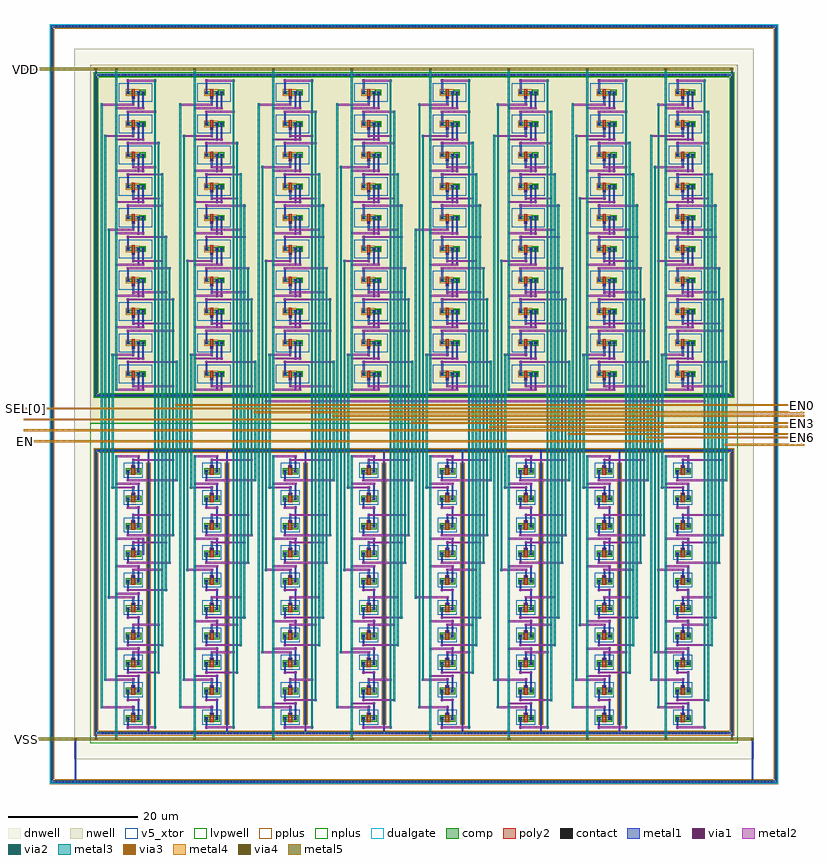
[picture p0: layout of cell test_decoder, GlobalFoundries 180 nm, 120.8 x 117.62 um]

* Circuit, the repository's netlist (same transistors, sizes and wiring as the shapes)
** sch_path: /foss/designs/libs/core_test/test_decoder/test_decoder.sch
.subckt test_decoder SEL[0] SEL[1] SEL[2] VDD VSS EN0 EN1 EN2 EN3 EN4 EN5 EN6 EN7 EN
*.PININFO VDD:B VSS:B SEL[0]:I SEL[1]:I SEL[2]:I EN0:O EN1:O EN2:O EN3:O EN4:O EN5:O EN6:O EN7:O EN:I
x3 VDD SEL[0] net1 SEL[1] VSS test_and
x4 VDD net1 net2 SEL[2] VSS test_and
x5 VDD EN0_in net2 VSS test_inv
x6 VDD SEL[0] net3 SEL[1] VSS test_and
x7 VDD net4 net3 VSS test_inv
x8 VDD net4 EN1_in SEL[2] VSS test_and
x9 VDD net5 SEL[0] VSS test_inv
x10 VDD net5 net7 SEL[1] VSS test_and
x11 VDD net6 SEL[2] VSS test_inv
x12 VDD net7 EN2_in net6 VSS test_and
x13 VDD net8 SEL[0] VSS test_inv
x14 VDD net8 net9 SEL[1] VSS test_and
x15 VDD net9 EN3_in SEL[2] VSS test_and
x16 VDD SEL[1] net10 SEL[2] VSS test_and
x17 VDD net11 net10 VSS test_inv
x18 VDD SEL[0] EN4_in net11 VSS test_and
x19 VDD net12 SEL[1] VSS test_inv
x20 VDD SEL[0] net13 net12 VSS test_and
x21 VDD net13 EN5_in SEL[2] VSS test_and
x22 VDD SEL[0] net14 SEL[1] VSS test_and
x23 VDD net14 EN6_in net15 VSS test_and
x24 VDD net15 SEL[2] VSS test_inv
x25 VDD SEL[0] net16 SEL[1] VSS test_and
x26 VDD net16 EN7_in SEL[2] VSS test_and
x1 VDD EN0_in EN0 EN VSS test_and
x2 VDD EN1_in EN1 EN VSS test_and
x27 VDD EN2_in EN2 EN VSS test_and
x28 VDD EN3_in EN3 EN VSS test_and
x29 VDD EN4_in EN4 EN VSS test_and
x30 VDD EN5_in EN5 EN VSS test_and
x31 VDD EN6_in EN6 EN VSS test_and
x32 VDD EN7_in EN7 EN VSS test_and
.ends

* expanding   symbol:  libs/core_test/test_and/test_and.sym # of pins=5
** sym_path: /foss/designs/libs/core_test/test_and/test_and.sym
** sch_path: /foss/designs/libs/core_test/test_and/test_and.sch
.subckt test_and VDD A Y B VSS
*.PININFO A:I B:I VDD:B VSS:B Y:O
XM1 net1 A net2 VSS nfet_05v0 L=0.60u W=0.50u nf=1 m=1
XM2 net1 A VDD VDD pfet_05v0 L=0.50u W=0.50u nf=1 m=1
XM3 net1 B VDD VDD pfet_05v0 L=0.50u W=0.50u nf=1 m=1
XM4 net2 B VSS VSS nfet_05v0 L=0.60u W=0.50u nf=1 m=1
XM5 Y net1 VSS VSS nfet_05v0 L=0.60u W=0.50u nf=1 m=1
XM6 Y net1 VDD VDD pfet_05v0 L=0.50u W=0.50u nf=1 m=1
.ends


* expanding   symbol:  libs/core_test/test_inv/test_inv.sym # of pins=4
** sym_path: /foss/designs/libs/core_test/test_inv/test_inv.sym
** sch_path: /foss/designs/libs/core_test/test_inv/test_inv.sch
.subckt test_inv VDD OUT IN VSS
*.PININFO OUT:O IN:I VDD:B VSS:B
XM1 OUT IN VSS VSS nfet_05v0 L=0.60u W=0.50u nf=1 m=1
XM2 OUT IN VDD VDD pfet_05v0 L=0.50u W=0.50u nf=1 m=1
.ends

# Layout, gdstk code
import gdstk
lib = gdstk.Library(unit=1e-6, precision=5e-09)
def R(c, l, rs):  # rectangles x0, y0, x1, y1
    for r in rs: c.add(gdstk.rectangle(r[:2], r[2:], *l))
def A(c, l, x, y, w, h, nx, ny, dx, dy):  # array of equal rectangles
    R(c, l, [(x+i*dx, y+j*dy, x+i*dx+w, y+j*dy+h) for i in range(nx) for j in range(ny)])
def P(c, l, *ps):  # polygons
    for p in ps: c.add(gdstk.Polygon(p, *l))
dnwell = (12, 0)
nwell = (21, 0)
comp = (22, 0)
poly2 = (30, 0)
pplus = (31, 0)
nplus = (32, 0)
contact = (33, 0)
metal1 = (34, 0)
via1 = (35, 0)
metal2 = (36, 0)
via2 = (38, 0)
via3 = (40, 0)
via4 = (41, 0)
metal3 = (42, 0)
metal4 = (46, 0)
dualgate = (55, 0)
metal5 = (81, 0)
v5_xtor = (112, 1)
lvpwell = (204, 0)

nfet = lib.new_cell('nfet')
R(nfet, comp, [(-0.42,0,0,0.5), (0,0,1.22,0.5), (1.22,0,1.64,0.5)])
R(nfet, poly2, [(0.31,-0.3,0.91,0.8), (0.31,0.8,0.91,1.16)])
R(nfet, nplus, [(-0.59,-0.24,1.81,0.74)])
R(nfet, contact, [(-0.32,0.14,-0.1,0.36), (1.32,0.14,1.54,0.36), (0.5,0.87,0.72,1.09)])
R(nfet, metal1, [(-0.4,0.06,-0.02,0.44), (1.24,0.06,1.62,0.44), (0.42,0.79,0.8,1.17)])
R(nfet, dualgate, [(-0.84,-0.71,2.06,1.58)])
R(nfet, v5_xtor, [(-0.84,-0.71,2.06,1.58)])

pfet_1 = lib.new_cell('pfet$1')
R(pfet_1, nwell, [(-1.15,-0.69,3,1.19)])
R(pfet_1, comp, [(-0.46,0,0,0.5), (0,0,1.12,0.5), (1.12,0,1.58,0.5), (1.58,0,2.31,0.5)])
R(pfet_1, poly2, [(0.31,-0.68,0.81,-0.3), (0.31,-0.3,0.81,0.8)])
R(pfet_1, pplus, [(-0.63,-0.24,1.58,0.74)])
R(pfet_1, nplus, [(1.58,-0.17,2.48,0.67)])
R(pfet_1, contact, [(0.45,-0.6,0.67,-0.38), (-0.34,0.14,-0.12,0.36), (1.24,0.14,1.46,0.36), (1.97,0.14,2.19,0.36)])
R(pfet_1, metal1, [(0.37,-0.68,0.75,-0.3), (-0.42,0.06,-0.04,0.44), (1.16,0.06,1.54,0.44), (1.89,0.06,2.27,0.44)])
R(pfet_1, dualgate, [(-1.65,-1.19,3.5,1.69)])
R(pfet_1, v5_xtor, [(-1.65,-1.19,3.5,1.69)])

test_decoder = lib.new_cell('test_decoder')
R(test_decoder, dnwell, [(-293.04,2.505,-187.88,112.485)])
R(test_decoder, nwell, [(-290.54,54.545,-190.38,109.985)])
A(test_decoder, comp, -281.76, 8.035, 0.38, 40.2, 7, 1, 12.15, 0)
P(test_decoder, comp, [(-289.87,58.615),(-289.87,108.255),(-289.49,108.255),(-289.49,58.995),(-191.43,58.995),(-191.43,108.255),(-289.87,108.255),(-289.87,108.635),(-191.05,108.635),(-191.05,58.615)],
  [(-289.87,6.355),(-289.87,50.095),(-289.49,50.095),(-289.49,6.735),(-191.43,6.735),(-191.43,50.095),(-289.87,50.095),(-289.87,50.475),(-191.05,50.475),(-191.05,6.355)],
  [(-296.69,-1.145),(-296.69,115.755),(-296.31,115.755),(-296.31,-0.765),(-184.61,-0.765),(-184.61,115.755),(-296.69,115.755),(-296.69,116.135),(-184.23,116.135),(-184.23,-1.145)])
A(test_decoder, pplus, -281.93, 7.865, 0.72, 40.54, 7, 1, 12.15, 0)
P(test_decoder, pplus, [(-290.04,6.185),(-290.04,49.925),(-289.32,49.925),(-289.32,6.905),(-191.6,6.905),(-191.6,49.925),(-290.04,49.925),(-290.04,50.645),(-190.88,50.645),(-190.88,6.185)],
  [(-296.86,-1.315),(-296.86,115.585),(-296.14,115.585),(-296.14,-0.595),(-184.78,-0.595),(-184.78,115.585),(-296.86,115.585),(-296.86,116.305),(-184.06,116.305),(-184.06,-1.315)])
P(test_decoder, nplus, [(-290.04,58.445),(-290.04,108.085),(-289.32,108.085),(-289.32,59.165),(-191.6,59.165),(-191.6,108.085),(-290.04,108.085),(-290.04,108.805),(-190.88,108.805),(-190.88,58.445)])
A(test_decoder, contact, -295.905, -1.065, 0.22, 0.22, 218, 2, 0.51, 116.9)
A(test_decoder, contact, -296.61, -0.245, 0.22, 0.22, 1, 227, 0, 0.51)
A(test_decoder, contact, -184.53, -0.245, 0.22, 0.22, 1, 227, 0, 0.51)
A(test_decoder, contact, -288.765, 6.435, 0.22, 0.22, 190, 2, 0.51, 43.74)
A(test_decoder, contact, -289.79, 7.395, 0.22, 0.22, 1, 83, 0, 0.51)
A(test_decoder, contact, -191.35, 7.395, 0.22, 0.22, 1, 83, 0, 0.51)
A(test_decoder, contact, -281.68, 8.39, 0.22, 0.22, 7, 78, 12.15, 0.51)
A(test_decoder, contact, -288.765, 58.695, 0.22, 0.22, 190, 2, 0.51, 49.64)
A(test_decoder, contact, -289.79, 59.8, 0.22, 0.22, 1, 94, 0, 0.51)
A(test_decoder, contact, -191.35, 59.8, 0.22, 0.22, 1, 94, 0, 0.51)
A(test_decoder, metal1, -281.7, 6.415, 0.26, 44, 7, 1, 12.15, 0)
A(test_decoder, metal1, -284.85, 7.255, 0.26, 1.7, 8, 10, 12.15, 4.25)
A(test_decoder, metal1, -246.76, 8.695, 0.26, 2.63, 3, 1, 24.3, 0)
A(test_decoder, metal1, -284.03, 9.425, 0.26, 1.34, 8, 10, 12.15, 4.25)
A(test_decoder, metal1, -246.76, 12.945, 0.26, 3.19, 3, 1, 24.3, 0)
A(test_decoder, metal1, -283.21, 17.195, 0.26, 2.63, 8, 3, 12.15, 12.75)
A(test_decoder, metal1, -271.06, 21.445, 0.26, 2.63, 7, 2, 12.15, 12.75)
A(test_decoder, metal1, -271.06, 25.695, 0.26, 3.19, 7, 1, 12.15, 0)
A(test_decoder, metal1, -283.21, 38.445, 0.26, 3.19, 8, 1, 12.15, 0)
A(test_decoder, metal1, -283.21, 46.945, 0.26, 2.63, 8, 1, 12.15, 0)
A(test_decoder, metal1, -283.25, 59.515, 0.26, 2.74, 1, 10, 0, 4.84)
A(test_decoder, metal1, -282.52, 59.515, 0.26, 2.74, 1, 10, 0, 4.84)
A(test_decoder, metal1, -271.1, 59.515, 0.26, 2.74, 1, 10, 0, 4.84)
A(test_decoder, metal1, -270.37, 59.515, 0.26, 2.74, 1, 10, 0, 4.84)
A(test_decoder, metal1, -258.95, 59.515, 0.26, 2.74, 1, 10, 0, 4.84)
A(test_decoder, metal1, -258.22, 59.515, 0.26, 2.74, 1, 10, 0, 4.84)
A(test_decoder, metal1, -246.8, 59.515, 0.26, 2.74, 1, 10, 0, 4.84)
A(test_decoder, metal1, -246.07, 59.515, 0.26, 2.74, 1, 10, 0, 4.84)
A(test_decoder, metal1, -234.65, 59.515, 0.26, 2.74, 1, 10, 0, 4.84)
A(test_decoder, metal1, -233.92, 59.515, 0.26, 2.74, 1, 10, 0, 4.84)
A(test_decoder, metal1, -222.5, 59.515, 0.26, 2.74, 1, 10, 0, 4.84)
A(test_decoder, metal1, -221.77, 59.515, 0.26, 2.74, 1, 10, 0, 4.84)
A(test_decoder, metal1, -210.35, 59.515, 0.26, 2.74, 1, 10, 0, 4.84)
A(test_decoder, metal1, -209.62, 59.515, 0.26, 2.74, 1, 10, 0, 4.84)
A(test_decoder, metal1, -198.2, 59.515, 0.26, 2.74, 1, 10, 0, 4.84)
A(test_decoder, metal1, -197.47, 59.515, 0.26, 2.74, 1, 10, 0, 4.84)
A(test_decoder, metal1, -284.04, 60.075, 0.26, 1.44, 8, 10, 12.15, 4.84)
A(test_decoder, metal1, -284.83, 61.995, 0.26, 2.18, 8, 10, 12.15, 4.84)
R(test_decoder, metal1, [(-283.21,8.695,-282.95,11.885), (-271.06,8.695,-270.8,11.885), (-258.91,8.695,-258.65,11.325), (-234.61,8.695,-234.35,11.885), (-210.31,8.695,-210.05,11.885), (-283.21,12.945,-282.95,15.575), (-271.06,12.945,-270.8,15.575), (-258.91,12.945,-258.65,16.135), (-234.61,12.945,-234.35,15.575), (-210.31,12.945,-210.05,15.575), (-283.21,21.445,-282.95,24.635), (-283.21,25.695,-282.95,28.325), (-283.21,34.195,-282.95,36.825), (-282.5,34.195,-282.24,36.825)])
P(test_decoder, metal1, [(-289.81,58.675),(-289.81,108.315),(-289.55,108.315),(-289.55,58.935),(-191.37,58.935),(-191.37,108.315),(-289.81,108.315),(-289.81,109.535),(-289.55,109.535),(-289.55,108.575),(-191.37,108.575),(-191.37,109.535),(-191.11,109.535),(-191.11,58.675)],
  [(-289.81,5.455),(-289.81,50.155),(-289.55,50.155),(-289.55,6.675),(-191.37,6.675),(-191.37,50.155),(-289.81,50.155),(-289.81,50.415),(-191.11,50.415),(-191.11,5.455),(-191.37,5.455),(-191.37,6.415),(-289.55,6.415),(-289.55,5.455)],
  [(-296.63,-1.085),(-296.63,115.815),(-296.37,115.815),(-296.37,-0.825),(-292.98,-0.825),(-292.98,5.835),(-292.72,5.835),(-292.72,-0.825),(-188.2,-0.825),(-188.2,5.835),(-187.94,5.835),(-187.94,-0.825),(-184.55,-0.825),(-184.55,115.815),(-296.63,115.815),(-296.63,116.075),(-184.29,116.075),(-184.29,-1.085)])
A(test_decoder, via1, -284.85, 7.315, 0.26, 0.26, 8, 3, 12.15, 12.75)
A(test_decoder, via1, -284.03, 10.445, 0.26, 0.26, 8, 10, 12.15, 4.25)
A(test_decoder, via1, -246.76, 11.005, 0.26, 0.26, 3, 1, 24.3, 0)
A(test_decoder, via1, -260.55, 11.565, 0.26, 0.26, 3, 1, 12.15, 0)
A(test_decoder, via1, -284.85, 15.815, 0.26, 0.26, 3, 1, 12.15, 0)
A(test_decoder, via1, -258.91, 15.815, 0.26, 0.26, 1, 3, 0, 12.75)
A(test_decoder, via1, -248.4, 15.815, 0.26, 0.26, 1, 3, 0, 12.75)
A(test_decoder, via1, -246.76, 15.815, 0.26, 0.26, 1, 3, 0, 12.75)
A(test_decoder, via1, -236.25, 15.815, 0.26, 0.26, 1, 3, 0, 12.75)
A(test_decoder, via1, -224.1, 15.815, 0.26, 0.26, 1, 3, 0, 12.75)
A(test_decoder, via1, -222.46, 15.815, 0.26, 0.26, 1, 3, 0, 12.75)
A(test_decoder, via1, -211.95, 15.815, 0.26, 0.26, 1, 3, 0, 12.75)
A(test_decoder, via1, -199.8, 15.815, 0.26, 0.26, 1, 3, 0, 12.75)
A(test_decoder, via1, -198.16, 15.815, 0.26, 0.26, 1, 3, 0, 12.75)
A(test_decoder, via1, -283.21, 19.505, 0.26, 0.26, 8, 3, 12.15, 12.75)
A(test_decoder, via1, -271.06, 23.755, 0.26, 0.26, 7, 2, 12.15, 12.75)
A(test_decoder, via1, -272.7, 24.315, 0.26, 0.26, 7, 1, 12.15, 0)
A(test_decoder, via1, -284.85, 37.065, 0.26, 0.26, 8, 2, 12.15, 8.5)
A(test_decoder, via1, -283.21, 49.255, 0.26, 0.26, 8, 1, 12.15, 0)
A(test_decoder, via1, -283.25, 59.575, 0.26, 0.26, 1, 10, 0, 4.84)
A(test_decoder, via1, -282.52, 59.575, 0.26, 0.26, 1, 10, 0, 4.84)
A(test_decoder, via1, -271.1, 59.575, 0.26, 0.26, 1, 10, 0, 4.84)
A(test_decoder, via1, -270.37, 59.575, 0.26, 0.26, 1, 10, 0, 4.84)
A(test_decoder, via1, -258.95, 59.575, 0.26, 0.26, 1, 10, 0, 4.84)
A(test_decoder, via1, -258.22, 59.575, 0.26, 0.26, 1, 10, 0, 4.84)
A(test_decoder, via1, -246.8, 59.575, 0.26, 0.26, 1, 10, 0, 4.84)
A(test_decoder, via1, -246.07, 59.575, 0.26, 0.26, 1, 10, 0, 4.84)
A(test_decoder, via1, -234.65, 59.575, 0.26, 0.26, 1, 10, 0, 4.84)
A(test_decoder, via1, -233.92, 59.575, 0.26, 0.26, 1, 10, 0, 4.84)
A(test_decoder, via1, -222.5, 59.575, 0.26, 0.26, 1, 10, 0, 4.84)
A(test_decoder, via1, -221.77, 59.575, 0.26, 0.26, 1, 10, 0, 4.84)
A(test_decoder, via1, -210.35, 59.575, 0.26, 0.26, 1, 10, 0, 4.84)
A(test_decoder, via1, -209.62, 59.575, 0.26, 0.26, 1, 10, 0, 4.84)
A(test_decoder, via1, -198.2, 59.575, 0.26, 0.26, 1, 10, 0, 4.84)
A(test_decoder, via1, -197.47, 59.575, 0.26, 0.26, 1, 10, 0, 4.84)
A(test_decoder, via1, -284.04, 60.135, 0.26, 0.26, 8, 10, 12.15, 4.84)
A(test_decoder, via1, -284.83, 63.855, 0.26, 0.26, 8, 10, 12.15, 4.84)
R(test_decoder, via1, [(-292.98,5.515,-292.72,5.775), (-289.81,5.515,-289.55,5.775), (-191.37,5.515,-191.11,5.775), (-188.2,5.515,-187.94,5.775), (-258.91,11.005,-258.65,11.265), (-284.85,11.565,-284.59,11.825), (-283.21,11.565,-282.95,11.825), (-272.7,11.565,-272.44,11.825), (-271.06,11.565,-270.8,11.825), (-234.61,11.565,-234.35,11.825), (-224.1,11.565,-223.84,11.825), (-211.95,11.565,-211.69,11.825), (-210.31,11.565,-210.05,11.825), (-199.8,11.565,-199.54,11.825), (-283.21,15.255,-282.95,15.515), (-271.06,15.255,-270.8,15.515), (-234.61,15.255,-234.35,15.515), (-210.31,15.255,-210.05,15.515), (-284.85,24.315,-284.59,24.575), (-283.21,24.315,-282.95,24.575), (-283.21,28.005,-282.95,28.265), (-284.85,28.565,-284.59,28.825), (-272.7,28.565,-272.44,28.825), (-271.06,28.565,-270.8,28.825), (-260.55,28.565,-260.29,28.825), (-234.61,28.565,-234.35,28.825), (-210.31,28.565,-210.05,28.825), (-283.21,36.505,-282.95,36.765), (-282.5,36.505,-282.24,36.765), (-284.85,41.315,-284.59,41.575), (-283.21,41.315,-282.95,41.575), (-272.7,41.315,-272.44,41.575), (-271.06,41.315,-270.8,41.575), (-260.55,41.315,-260.29,41.575), (-234.61,41.315,-234.35,41.575), (-210.31,41.315,-210.05,41.575), (-289.81,109.215,-289.55,109.475), (-191.37,109.215,-191.11,109.475)])
A(test_decoder, metal2, -284.91, 7.305, 4.55, 0.28, 8, 1, 12.15, 0)
A(test_decoder, metal2, -288.97, 10.435, 5.26, 0.28, 4, 1, 12.15, 0)
A(test_decoder, metal2, -250.28, 10.995, 3.84, 0.28, 3, 1, 24.3, 0)
A(test_decoder, metal2, -248.46, 11.555, 5.11, 0.28, 3, 1, 24.3, 0)
A(test_decoder, metal2, -248.46, 15.805, 2.02, 0.28, 3, 1, 24.3, 0)
A(test_decoder, metal2, -235.49, 18.935, 3.73, 0.28, 3, 1, 12.15, 0)
A(test_decoder, metal2, -286.73, 19.495, 3.84, 0.28, 8, 3, 12.15, 12.75)
A(test_decoder, metal2, -284.91, 20.055, 5.67, 0.28, 8, 1, 12.15, 0)
A(test_decoder, metal2, -284.09, 23.185, 4.29, 0.28, 6, 1, 12.15, 0)
A(test_decoder, metal2, -274.58, 23.745, 3.84, 0.28, 7, 2, 12.15, 12.75)
A(test_decoder, metal2, -272.76, 24.305, 6.23, 0.28, 7, 1, 12.15, 0)
A(test_decoder, metal2, -271.94, 27.435, 4.85, 0.28, 3, 1, 12.15, 0)
A(test_decoder, metal2, -272.76, 28.555, 2.02, 0.28, 7, 1, 12.15, 0)
A(test_decoder, metal2, -275.7, 31.685, 4.14, 0.28, 3, 1, 12.15, 0)
A(test_decoder, metal2, -284.91, 32.805, 6.79, 0.28, 8, 1, 12.15, 0)
A(test_decoder, metal2, -284.09, 35.935, 5.41, 0.28, 8, 1, 12.15, 0)
A(test_decoder, metal2, -284.91, 37.055, 7.35, 0.28, 8, 1, 12.15, 0)
A(test_decoder, metal2, -284.09, 40.185, 5.97, 0.28, 8, 1, 12.15, 0)
A(test_decoder, metal2, -284.91, 41.305, 2.02, 0.28, 8, 1, 12.15, 0)
A(test_decoder, metal2, -287.29, 44.435, 3.58, 0.28, 8, 1, 12.15, 0)
A(test_decoder, metal2, -284.91, 45.555, 7.91, 0.28, 8, 1, 12.15, 0)
A(test_decoder, metal2, -284.09, 48.685, 6.53, 0.28, 8, 1, 12.15, 0)
A(test_decoder, metal2, -286.73, 49.245, 3.84, 0.28, 8, 1, 12.15, 0)
A(test_decoder, metal2, -286.73, 59.565, 4.53, 0.28, 8, 10, 12.15, 4.84)
A(test_decoder, metal2, -284.1, 60.125, 6.54, 0.28, 8, 1, 12.15, 0)
A(test_decoder, metal2, -284.89, 63.845, 7.89, 0.28, 8, 1, 12.15, 0)
A(test_decoder, metal2, -287.29, 64.965, 3.57, 0.28, 8, 1, 12.15, 0)
A(test_decoder, metal2, -284.89, 68.685, 7.33, 0.28, 8, 2, 12.15, 4.84)
A(test_decoder, metal2, -284.1, 69.805, 5.98, 0.28, 8, 1, 12.15, 0)
A(test_decoder, metal2, -284.1, 74.645, 5.42, 0.28, 8, 1, 12.15, 0)
A(test_decoder, metal2, -284.89, 78.365, 6.77, 0.28, 8, 1, 12.15, 0)
A(test_decoder, metal2, -275.7, 79.485, 4.13, 0.28, 3, 1, 12.15, 0)
A(test_decoder, metal2, -284.89, 83.205, 6.21, 0.28, 8, 1, 12.15, 0)
A(test_decoder, metal2, -271.95, 84.325, 4.86, 0.28, 3, 1, 12.15, 0)
A(test_decoder, metal2, -272.74, 88.045, 6.21, 0.28, 7, 1, 12.15, 0)
A(test_decoder, metal2, -284.1, 89.165, 4.3, 0.28, 6, 1, 12.15, 0)
A(test_decoder, metal2, -284.89, 92.885, 5.65, 0.28, 8, 1, 12.15, 0)
A(test_decoder, metal2, -235.5, 94.005, 3.74, 0.28, 3, 1, 12.15, 0)
A(test_decoder, metal2, -284.89, 97.725, 5.09, 0.28, 8, 1, 12.15, 0)
A(test_decoder, metal2, -248.44, 102.565, 5.09, 0.28, 3, 1, 24.3, 0)
A(test_decoder, metal2, -288.97, 103.685, 5.25, 0.28, 4, 1, 12.15, 0)
A(test_decoder, metal2, -284.89, 107.405, 4.53, 0.28, 8, 1, 12.15, 0)
R(test_decoder, metal2, [(-293.04,5.455,-292.66,5.835), (-289.87,5.455,-289.49,5.835), (-191.43,5.455,-191.05,5.835), (-188.26,5.455,-187.88,5.835), (-239.81,10.435,-235.11,10.715), (-227.66,10.435,-222.96,10.715), (-216.07,10.435,-210.81,10.715), (-202.8,10.435,-198.66,10.715), (-262.43,10.995,-258.59,11.275), (-284.91,11.555,-282.89,11.835), (-272.76,11.555,-270.74,11.835), (-260.61,11.555,-255.5,11.835), (-236.31,11.555,-234.29,11.835), (-212.01,11.555,-209.99,11.835), (-288.41,14.685,-283.71,14.965), (-276.26,14.685,-271.56,14.965), (-259.79,14.685,-256.06,14.965), (-247.64,14.685,-243.91,14.965), (-239.25,14.685,-235.11,14.965), (-228.22,14.685,-222.96,14.965), (-215.51,14.685,-210.81,14.965), (-203.92,14.685,-198.66,14.965), (-286.73,15.245,-282.89,15.525), (-274.58,15.245,-270.74,15.525), (-238.13,15.245,-234.29,15.525), (-213.83,15.245,-209.99,15.525), (-284.91,15.805,-279.8,16.085), (-272.76,15.805,-267.65,16.085), (-260.61,15.805,-258.59,16.085), (-236.31,15.805,-231.2,16.085), (-212.01,15.805,-206.9,16.085), (-284.09,18.935,-280.36,19.215), (-271.94,18.935,-268.21,19.215), (-264.11,18.935,-259.41,19.215), (-251.96,18.935,-247.26,19.215), (-203.36,18.935,-198.66,19.215), (-214.95,23.185,-210.81,23.465), (-199.04,23.185,-194.75,23.465), (-284.91,24.305,-282.89,24.585), (-287.85,27.435,-283.71,27.715), (-240.37,27.435,-235.11,27.715), (-223.34,27.435,-218.49,27.715), (-211.19,27.435,-206.9,27.715), (-199.04,27.435,-194.19,27.715), (-286.73,27.995,-282.89,28.275), (-284.91,28.555,-278.68,28.835), (-284.09,31.685,-279.24,31.965), (-235.49,31.685,-230.64,31.965), (-227.1,31.685,-222.96,31.965), (-211.19,31.685,-206.34,31.965), (-202.8,31.685,-198.66,31.965), (-286.73,36.495,-282.18,36.775), (-263.55,57.765,-195.31,58.045), (-284.1,79.485,-279.24,79.765), (-235.5,79.485,-230.64,79.765), (-227.1,79.485,-222.97,79.765), (-211.2,79.485,-206.34,79.765), (-202.8,79.485,-198.67,79.765), (-287.85,84.325,-283.72,84.605), (-240.37,84.325,-235.12,84.605), (-223.35,84.325,-218.49,84.605), (-211.2,84.325,-206.9,84.605), (-199.05,84.325,-194.19,84.605), (-284.89,88.045,-279.24,88.325), (-214.95,89.165,-210.82,89.445), (-199.05,89.165,-194.75,89.445), (-284.1,94.005,-280.36,94.285), (-271.95,94.005,-268.21,94.285), (-264.11,94.005,-259.42,94.285), (-251.96,94.005,-247.27,94.285), (-203.36,94.005,-198.67,94.285), (-288.41,98.845,-283.72,99.125), (-276.26,98.845,-271.57,99.125), (-259.8,98.845,-256.06,99.125), (-247.65,98.845,-243.91,99.125), (-239.25,98.845,-235.12,99.125), (-228.22,98.845,-222.97,99.125), (-215.51,98.845,-210.82,99.125), (-203.92,98.845,-198.67,99.125), (-284.89,102.565,-280.36,102.845), (-272.74,102.565,-268.21,102.845), (-260.59,102.565,-255.5,102.845), (-236.29,102.565,-231.76,102.845), (-211.99,102.565,-207.46,102.845), (-239.81,103.685,-235.12,103.965), (-227.66,103.685,-222.97,103.965), (-216.07,103.685,-210.82,103.965), (-202.8,103.685,-198.67,103.965), (-289.87,109.155,-289.49,109.535), (-191.43,109.155,-191.05,109.535)])
A(test_decoder, via2, -280.68, 7.315, 0.26, 0.26, 8, 2, 12.15, 100.1)
A(test_decoder, via2, -288.91, 10.445, 0.26, 0.26, 4, 2, 12.15, 93.25)
A(test_decoder, via2, -250.22, 11.005, 0.26, 0.26, 3, 1, 24.3, 0)
A(test_decoder, via2, -243.67, 11.565, 0.26, 0.26, 3, 1, 24.3, 0)
A(test_decoder, via2, -232.08, 18.945, 0.26, 0.26, 3, 2, 12.15, 75.07)
A(test_decoder, via2, -286.67, 19.505, 0.26, 0.26, 8, 2, 12.15, 12.75)
A(test_decoder, via2, -279.56, 20.065, 0.26, 0.26, 8, 2, 12.15, 72.83)
A(test_decoder, via2, -280.12, 23.195, 0.26, 0.26, 6, 2, 12.15, 65.98)
A(test_decoder, via2, -274.52, 23.755, 0.26, 0.26, 7, 1, 12.15, 0)
A(test_decoder, via2, -266.85, 24.315, 0.26, 0.26, 7, 2, 12.15, 63.74)
A(test_decoder, via2, -267.41, 27.445, 0.26, 0.26, 3, 2, 12.15, 56.89)
A(test_decoder, via2, -275.64, 31.695, 0.26, 0.26, 3, 2, 12.15, 47.8)
A(test_decoder, via2, -278.44, 32.815, 0.26, 0.26, 8, 2, 12.15, 7.38)
A(test_decoder, via2, -279, 35.945, 0.26, 0.26, 8, 2, 12.15, 38.71)
A(test_decoder, via2, -286.67, 36.505, 0.26, 0.26, 8, 2, 12.15, 8.5)
A(test_decoder, via2, -277.88, 37.065, 0.26, 0.26, 8, 2, 12.15, 11.63)
A(test_decoder, via2, -287.23, 44.445, 0.26, 0.26, 8, 2, 12.15, 20.53)
A(test_decoder, via2, -277.32, 45.565, 0.26, 0.26, 8, 2, 12.15, 18.29)
A(test_decoder, via2, -286.67, 49.255, 0.26, 0.26, 8, 2, 12.15, 10.32)
A(test_decoder, via2, -277.88, 60.135, 0.26, 0.26, 8, 2, 12.15, 8.56)
A(test_decoder, via2, -286.67, 64.415, 0.26, 0.26, 8, 9, 12.15, 4.84)
A(test_decoder, via2, -278.44, 69.815, 0.26, 0.26, 8, 2, 12.15, 8.56)
A(test_decoder, via2, -277.88, 73.535, 0.26, 0.26, 8, 1, 12.15, 0)
A(test_decoder, via2, -279, 83.215, 0.26, 0.26, 8, 1, 12.15, 0)
A(test_decoder, via2, -280.12, 97.735, 0.26, 0.26, 8, 1, 12.15, 0)
R(test_decoder, via2, [(-292.98,5.515,-292.72,5.775), (-289.81,5.515,-289.55,5.775), (-191.37,5.515,-191.11,5.775), (-188.2,5.515,-187.94,5.775), (-239.75,10.445,-239.49,10.705), (-227.6,10.445,-227.34,10.705), (-216.01,10.445,-215.75,10.705), (-202.74,10.445,-202.48,10.705), (-262.37,11.005,-262.11,11.265), (-255.82,11.565,-255.56,11.825), (-288.35,14.695,-288.09,14.955), (-276.2,14.695,-275.94,14.955), (-256.38,14.695,-256.12,14.955), (-244.23,14.695,-243.97,14.955), (-239.19,14.695,-238.93,14.955), (-228.16,14.695,-227.9,14.955), (-215.45,14.695,-215.19,14.955), (-203.86,14.695,-203.6,14.955), (-286.67,15.255,-286.41,15.515), (-274.52,15.255,-274.26,15.515), (-238.07,15.255,-237.81,15.515), (-213.77,15.255,-213.51,15.515), (-280.12,15.815,-279.86,16.075), (-267.97,15.815,-267.71,16.075), (-231.52,15.815,-231.26,16.075), (-207.22,15.815,-206.96,16.075), (-280.68,18.945,-280.42,19.205), (-268.53,18.945,-268.27,19.205), (-264.05,18.945,-263.79,19.205), (-251.9,18.945,-251.64,19.205), (-203.3,18.945,-203.04,19.205), (-214.89,23.195,-214.63,23.455), (-195.07,23.195,-194.81,23.455), (-287.79,27.445,-287.53,27.705), (-240.31,27.445,-240.05,27.705), (-218.81,27.445,-218.55,27.705), (-207.22,27.445,-206.96,27.705), (-194.51,27.445,-194.25,27.705), (-286.67,28.005,-286.41,28.265), (-279,28.565,-278.74,28.825), (-279.56,31.695,-279.3,31.955), (-230.96,31.695,-230.7,31.955), (-227.04,31.695,-226.78,31.955), (-206.66,31.695,-206.4,31.955), (-202.74,31.695,-202.48,31.955), (-263.49,57.775,-263.23,58.035), (-195.63,57.775,-195.37,58.035), (-279.56,79.495,-279.3,79.755), (-230.96,79.495,-230.7,79.755), (-227.04,79.495,-226.78,79.755), (-206.66,79.495,-206.4,79.755), (-202.74,79.495,-202.48,79.755), (-287.79,84.335,-287.53,84.595), (-240.31,84.335,-240.05,84.595), (-218.81,84.335,-218.55,84.595), (-207.22,84.335,-206.96,84.595), (-194.51,84.335,-194.25,84.595), (-279.56,88.055,-279.3,88.315), (-214.89,89.175,-214.63,89.435), (-195.07,89.175,-194.81,89.435), (-280.68,94.015,-280.42,94.275), (-268.53,94.015,-268.27,94.275), (-264.05,94.015,-263.79,94.275), (-251.9,94.015,-251.64,94.275), (-203.3,94.015,-203.04,94.275), (-288.35,98.855,-288.09,99.115), (-276.2,98.855,-275.94,99.115), (-256.38,98.855,-256.12,99.115), (-244.23,98.855,-243.97,99.115), (-239.19,98.855,-238.93,99.115), (-228.16,98.855,-227.9,99.115), (-215.45,98.855,-215.19,99.115), (-203.86,98.855,-203.6,99.115), (-280.68,102.575,-280.42,102.835), (-268.53,102.575,-268.27,102.835), (-255.82,102.575,-255.56,102.835), (-243.67,102.575,-243.41,102.835), (-232.08,102.575,-231.82,102.835), (-219.37,102.575,-219.11,102.835), (-207.78,102.575,-207.52,102.835), (-195.07,102.575,-194.81,102.835), (-239.75,103.695,-239.49,103.955), (-227.6,103.695,-227.34,103.955), (-216.01,103.695,-215.75,103.955), (-202.74,103.695,-202.48,103.955), (-289.81,109.215,-289.55,109.475), (-191.37,109.215,-191.11,109.475)])
A(test_decoder, via3, -286.67, 5.515, 0.26, 0.26, 8, 2, 12.15, 103.7)
A(test_decoder, via3, -287.23, 51.615, 0.26, 0.26, 8, 1, 12.15, 0)
A(test_decoder, via3, -251.34, 53.295, 0.26, 0.26, 5, 1, 12.15, 0)
A(test_decoder, via3, -288.35, 54.975, 0.26, 0.26, 8, 1, 12.15, 0)
A(test_decoder, via3, -288.91, 56.655, 0.26, 0.26, 8, 1, 12.15, 0)
R(test_decoder, via3, [(-292.98,5.515,-292.72,5.775), (-289.81,5.515,-289.55,5.775), (-191.37,5.515,-191.11,5.775), (-188.2,5.515,-187.94,5.775), (-192.27,51.055,-192.01,51.315), (-204.42,52.175,-204.16,52.435), (-216.57,52.735,-216.31,52.995), (-287.79,53.295,-287.53,53.555), (-275.64,53.295,-275.38,53.555), (-228.72,53.855,-228.46,54.115), (-240.87,54.415,-240.61,54.675), (-253.02,55.535,-252.76,55.795), (-265.17,56.095,-264.91,56.355), (-277.32,57.215,-277.06,57.475), (-289.81,109.215,-289.55,109.475), (-191.37,109.215,-191.11,109.475)])
A(test_decoder, via4, -286.67, 5.515, 0.26, 0.26, 8, 2, 12.15, 103.7)
R(test_decoder, via4, [(-292.98,5.515,-292.72,5.775), (-289.81,5.515,-289.55,5.775), (-191.37,5.515,-191.11,5.775), (-188.2,5.515,-187.94,5.775), (-289.81,109.215,-289.55,109.475), (-191.37,109.215,-191.11,109.475)])
A(test_decoder, metal3, -286.68, 5.455, 0.28, 44.12, 8, 1, 12.15, 0)
A(test_decoder, metal3, -280.69, 7.255, 0.28, 100.48, 8, 1, 12.15, 0)
A(test_decoder, metal3, -288.92, 10.385, 0.28, 93.63, 4, 1, 12.15, 0)
A(test_decoder, metal3, -243.68, 11.505, 0.28, 91.39, 3, 1, 24.3, 0)
A(test_decoder, metal3, -279.57, 20.005, 0.28, 73.21, 8, 1, 12.15, 0)
A(test_decoder, metal3, -266.86, 24.255, 0.28, 64.12, 7, 1, 12.15, 0)
A(test_decoder, metal3, -275.65, 31.635, 0.28, 48.18, 3, 1, 12.15, 0)
A(test_decoder, metal3, -278.45, 32.755, 0.28, 45.94, 8, 1, 12.15, 0)
A(test_decoder, metal3, -277.89, 37.005, 0.28, 36.85, 8, 1, 12.15, 0)
A(test_decoder, metal3, -287.24, 44.385, 0.28, 20.91, 8, 1, 12.15, 0)
A(test_decoder, metal3, -277.33, 45.505, 0.28, 18.67, 8, 1, 12.15, 0)
A(test_decoder, metal3, -286.68, 59.515, 0.28, 50.02, 8, 1, 12.15, 0)
R(test_decoder, metal3, [(-293.04,5.455,-292.66,5.835), (-289.87,5.455,-289.49,5.835), (-191.43,5.455,-191.05,5.835), (-188.26,5.455,-187.88,5.835), (-239.76,10.385,-239.48,104.015), (-227.61,10.385,-227.33,104.015), (-216.02,10.385,-215.74,104.015), (-202.75,10.385,-202.47,104.015), (-255.83,11.505,-255.55,102.895), (-288.36,14.635,-288.08,99.175), (-276.21,14.635,-275.93,99.175), (-239.2,14.635,-238.92,99.175), (-228.17,14.635,-227.89,99.175), (-215.46,14.635,-215.18,99.175), (-203.87,14.635,-203.59,99.175), (-280.13,15.755,-279.85,98.055), (-267.98,15.755,-267.7,98.055), (-231.53,15.755,-231.25,98.055), (-207.23,15.755,-206.95,98.055), (-264.06,18.885,-263.78,94.335), (-251.91,18.885,-251.63,94.335), (-203.31,18.885,-203.03,94.335), (-214.9,23.135,-214.62,89.495), (-287.8,27.385,-287.52,84.655), (-240.32,27.385,-240.04,84.655), (-279.01,28.505,-278.73,83.535), (-227.05,31.635,-226.77,79.815), (-289.87,109.155,-289.49,109.535), (-191.43,109.155,-191.05,109.535)])
A(test_decoder, metal4, -286.73, 5.455, 0.38, 0.38, 8, 2, 12.15, 103.7)
R(test_decoder, metal4, [(-293.04,5.455,-292.66,5.835), (-289.87,5.455,-289.49,5.835), (-191.43,5.455,-191.05,5.835), (-188.26,5.455,-187.88,5.835), (-192.33,51.045,-180.06,51.325), (-300.86,51.605,-201.86,51.885), (-204.48,52.165,-180.06,52.445), (-216.63,52.725,-180.06,53.005), (-300.86,53.285,-202.42,53.565), (-228.78,53.845,-180.06,54.125), (-240.93,54.405,-180.06,54.685), (-300.86,54.965,-202.98,55.245), (-253.08,55.525,-180.06,55.805), (-265.23,56.085,-180.06,56.365), (-300.86,56.645,-203.54,56.925), (-277.38,57.205,-180.06,57.485), (-289.87,109.155,-289.49,109.535), (-191.43,109.155,-191.05,109.535)])
R(test_decoder, dualgate, [(-296.86,-1.295,-184.06,116.305), (-293.04,2.505,-187.88,112.485)])
R(test_decoder, metal5, [(-300.86,5.425,-187.88,5.865), (-300.86,109.125,-191.05,109.565)])
R(test_decoder, lvpwell, [(-290.54,5.005,-190.38,54.545)])
r = gdstk.Reference(nfet, (-284.51,8.575)); r.repetition = gdstk.Repetition(1, 10, v1=(0,0), v2=(0,4.25)); test_decoder.add(r)
r = gdstk.Reference(pfet_1, (-284.47,61.875)); r.repetition = gdstk.Repetition(1, 10, v1=(0,0), v2=(0,4.84)); test_decoder.add(r)
r = gdstk.Reference(pfet_1, (-272.32,61.875)); r.repetition = gdstk.Repetition(1, 10, v1=(0,0), v2=(0,4.84)); test_decoder.add(r)
r = gdstk.Reference(pfet_1, (-260.17,61.875)); r.repetition = gdstk.Repetition(1, 10, v1=(0,0), v2=(0,4.84)); test_decoder.add(r)
r = gdstk.Reference(nfet, (-272.36,8.575)); r.repetition = gdstk.Repetition(1, 10, v1=(0,0), v2=(0,4.25)); test_decoder.add(r)
r = gdstk.Reference(pfet_1, (-248.02,61.875)); r.repetition = gdstk.Repetition(1, 10, v1=(0,0), v2=(0,4.84)); test_decoder.add(r)
r = gdstk.Reference(pfet_1, (-235.87,61.875)); r.repetition = gdstk.Repetition(1, 10, v1=(0,0), v2=(0,4.84)); test_decoder.add(r)
r = gdstk.Reference(pfet_1, (-223.72,61.875)); r.repetition = gdstk.Repetition(1, 10, v1=(0,0), v2=(0,4.84)); test_decoder.add(r)
r = gdstk.Reference(pfet_1, (-211.57,61.875)); r.repetition = gdstk.Repetition(1, 10, v1=(0,0), v2=(0,4.84)); test_decoder.add(r)
r = gdstk.Reference(pfet_1, (-199.42,61.875)); r.repetition = gdstk.Repetition(1, 10, v1=(0,0), v2=(0,4.84)); test_decoder.add(r)
r = gdstk.Reference(nfet, (-260.21,8.575)); r.repetition = gdstk.Repetition(1, 10, v1=(0,0), v2=(0,4.25)); test_decoder.add(r)
r = gdstk.Reference(nfet, (-248.06,8.575)); r.repetition = gdstk.Repetition(1, 10, v1=(0,0), v2=(0,4.25)); test_decoder.add(r)
r = gdstk.Reference(nfet, (-235.91,8.575)); r.repetition = gdstk.Repetition(1, 10, v1=(0,0), v2=(0,4.25)); test_decoder.add(r)
r = gdstk.Reference(nfet, (-223.76,8.575)); r.repetition = gdstk.Repetition(1, 10, v1=(0,0), v2=(0,4.25)); test_decoder.add(r)
r = gdstk.Reference(nfet, (-211.61,8.575)); r.repetition = gdstk.Repetition(1, 10, v1=(0,0), v2=(0,4.25)); test_decoder.add(r)
r = gdstk.Reference(nfet, (-199.46,8.575)); r.repetition = gdstk.Repetition(1, 10, v1=(0,0), v2=(0,4.25)); test_decoder.add(r)
test_decoder.add(gdstk.Label('VDD', (-300.6,109.305), layer=81, texttype=10))
test_decoder.add(gdstk.Label('VSS', (-300.495,5.605), layer=81, texttype=10))
test_decoder.add(gdstk.Label('EN', (-300.62,51.735), layer=46, texttype=10))
test_decoder.add(gdstk.Label('SEL[0]', (-300.455,56.76), layer=46, texttype=10))
test_decoder.add(gdstk.Label('SEL[1]', (-300.45,55.07), layer=46, texttype=10))
test_decoder.add(gdstk.Label('SEL[2]', (-300.475,53.39), layer=46, texttype=10))
test_decoder.add(gdstk.Label('EN0', (-180.365,57.315), layer=46, texttype=10))
test_decoder.add(gdstk.Label('EN1', (-180.355,56.19), layer=46, texttype=10))
test_decoder.add(gdstk.Label('EN2', (-180.355,55.64), layer=46, texttype=10))
test_decoder.add(gdstk.Label('EN3', (-180.39,54.515), layer=46, texttype=10))
test_decoder.add(gdstk.Label('EN4', (-180.39,53.955), layer=46, texttype=10))
test_decoder.add(gdstk.Label('EN5', (-180.405,52.825), layer=46, texttype=10))
test_decoder.add(gdstk.Label('EN6', (-180.39,52.265), layer=46, texttype=10))
test_decoder.add(gdstk.Label('EN7', (-180.38,51.16), layer=46, texttype=10))

lib.write_gds('test_decoder.gds')
